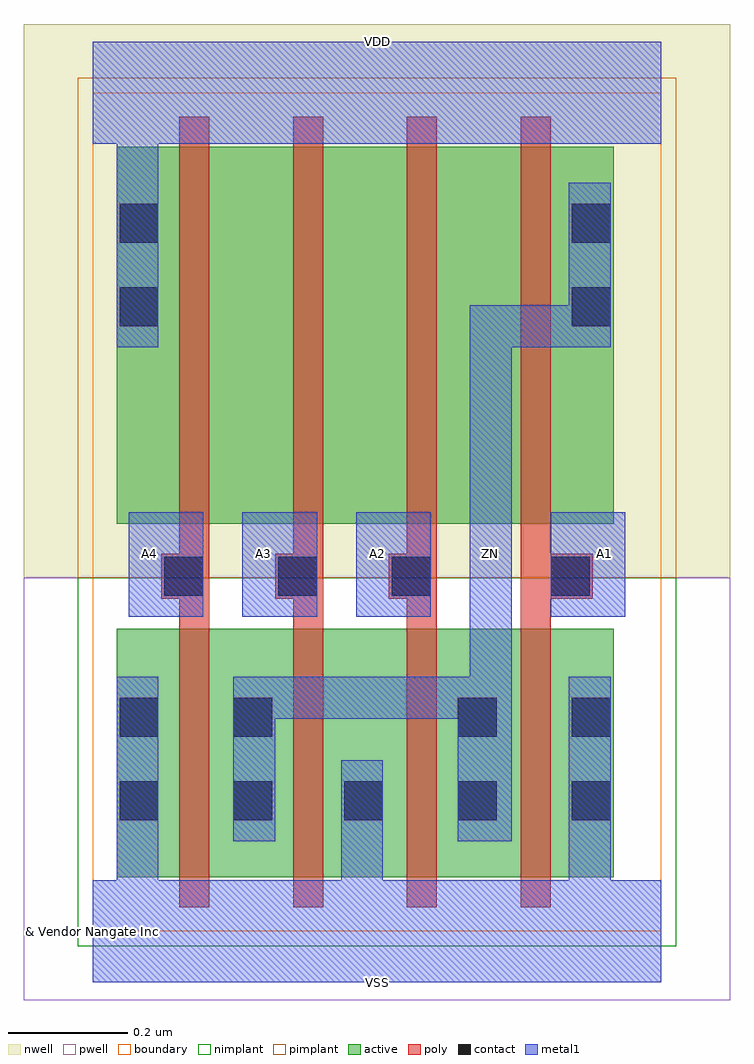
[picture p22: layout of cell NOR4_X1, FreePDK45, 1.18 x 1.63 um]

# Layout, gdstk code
import gdstk
lib = gdstk.Library(unit=1e-6, precision=1e-10)
def R(c, l, rs):  # rectangles x0, y0, x1, y1
    for r in rs: c.add(gdstk.rectangle(r[:2], r[2:], *l))
def A(c, l, x, y, w, h, nx, ny, dx, dy):  # array of equal rectangles
    R(c, l, [(x+i*dx, y+j*dy, x+i*dx+w, y+j*dy+h) for i in range(nx) for j in range(ny)])
def P(c, l, *ps):  # polygons
    for p in ps: c.add(gdstk.Polygon(p, *l))
active = (1, 0)
pwell = (2, 0)
nwell = (3, 0)
nimplant = (4, 0)
pimplant = (5, 0)
poly = (9, 0)
contact = (10, 0)
metal1 = (11, 0)
boundary = (235, 0)

nor4_x1 = lib.new_cell('NOR4_X1')
R(nor4_x1, active, [(0.04,0.09,0.87,0.505), (0.04,0.68,0.87,1.31)])
R(nor4_x1, pwell, [(-0.115,-0.115,1.065,0.59)])
R(nor4_x1, nwell, [(-0.115,0.59,1.065,1.515)])
R(nor4_x1, nimplant, [(-0.025,-0.025,0.975,0.59)])
R(nor4_x1, pimplant, [(-0.025,0.59,0.975,1.425)])
P(nor4_x1, poly, [(0.145,0.04),(0.145,0.555),(0.115,0.555),(0.115,0.63),(0.145,0.63),(0.145,1.36),(0.195,1.36),(0.195,0.04)],
  [(0.335,0.04),(0.335,0.555),(0.305,0.555),(0.305,0.63),(0.335,0.63),(0.335,1.36),(0.385,1.36),(0.385,0.04)],
  [(0.525,0.04),(0.525,0.555),(0.495,0.555),(0.495,0.63),(0.525,0.63),(0.525,1.36),(0.575,1.36),(0.575,0.04)],
  [(0.715,0.04),(0.715,1.36),(0.765,1.36),(0.765,0.63),(0.835,0.63),(0.835,0.555),(0.765,0.555),(0.765,0.04)])
A(nor4_x1, contact, 0.42, 0.185, 0.065, 0.065, 3, 1, 0.19, 0)
A(nor4_x1, contact, 0.12, 0.56, 0.065, 0.065, 3, 1, 0.19, 0)
R(nor4_x1, contact, [(0.045,0.185,0.11,0.25), (0.235,0.185,0.3,0.25), (0.045,0.325,0.11,0.39), (0.235,0.325,0.3,0.39), (0.61,0.325,0.675,0.39), (0.8,0.325,0.865,0.39), (0.765,0.56,0.83,0.625), (0.045,1.01,0.11,1.075), (0.8,1.01,0.865,1.075), (0.045,1.15,0.11,1.215), (0.8,1.15,0.865,1.215)])
A(nor4_x1, metal1, 0.06, 0.525, 0.125, 0.175, 3, 1, 0.19, 0)
R(nor4_x1, metal1, [(0.765,0.525,0.89,0.7)])
P(nor4_x1, metal1, [(0.235,0.15),(0.235,0.425),(0.63,0.425),(0.63,1.045),(0.795,1.045),(0.795,1.25),(0.865,1.25),(0.865,0.975),(0.7,0.975),(0.7,0.15),(0.61,0.15),(0.61,0.355),(0.305,0.355),(0.305,0.15)],
  [(0,-0.085),(0,0.085),(0.04,0.085),(0.04,0.425),(0.11,0.425),(0.11,0.085),(0.415,0.085),(0.415,0.285),(0.485,0.285),(0.485,0.085),(0.795,0.085),(0.795,0.425),(0.865,0.425),(0.865,0.085),(0.95,0.085),(0.95,-0.085)],
  [(0.04,0.975),(0.04,1.315),(0,1.315),(0,1.485),(0.95,1.485),(0.95,1.315),(0.11,1.315),(0.11,0.975)])
R(nor4_x1, boundary, [(0,0,0.95,1.4)])
nor4_x1.add(gdstk.Label('A1', (0.855,0.63), layer=11, texttype=0))
nor4_x1.add(gdstk.Label('A2', (0.475,0.63), layer=11, texttype=0))
nor4_x1.add(gdstk.Label('A3', (0.285,0.63), layer=11, texttype=0))
nor4_x1.add(gdstk.Label('A4', (0.095,0.63), layer=11, texttype=0))
nor4_x1.add(gdstk.Label('VDD', (0.475,1.485), layer=11, texttype=0))
nor4_x1.add(gdstk.Label('VSS', (0.475,-0.085), layer=11, texttype=0))
nor4_x1.add(gdstk.Label('ZN', (0.665,0.63), layer=11, texttype=0))
nor4_x1.add(gdstk.Label('& Vendor Nangate Inc', (0,0), layer=63, texttype=63))
nor4_x1.add(gdstk.Label('& Product Open Cell Library', (0,0), layer=63, texttype=63))
nor4_x1.add(gdstk.Label('& Version 2010_12', (0,0), layer=63, texttype=63))
nor4_x1.add(gdstk.Label('& Instance NOR4_X1', (0,0), layer=63, texttype=63))

lib.write_gds('NOR4_X1.gds')
